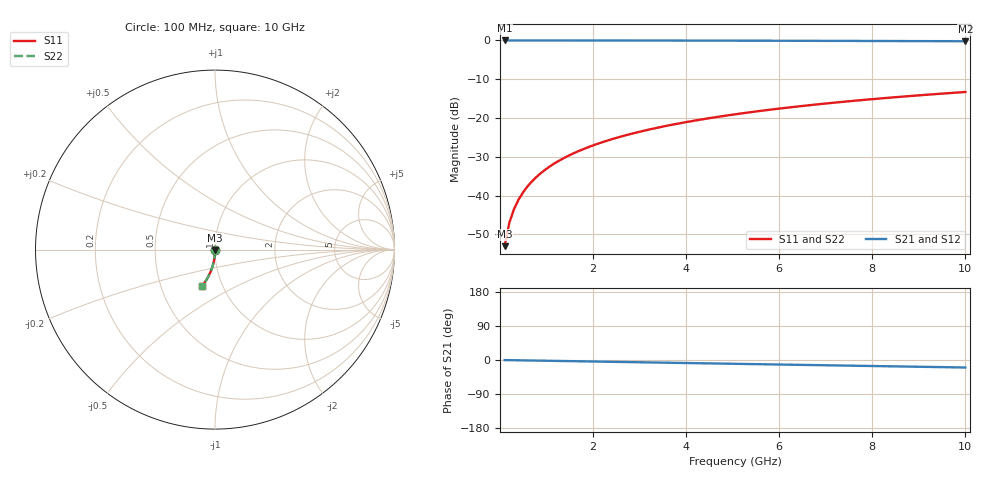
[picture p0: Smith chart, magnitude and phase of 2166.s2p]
# Hz S RI R 50.00
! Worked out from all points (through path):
!   100 points, 100 MHz to 10 GHz, reference 50 ohm
!   highest |S21| = 0.00 dB at 100 MHz (marker M1); lowest = -0.2 dB at 10 GHz (marker M2)
!   group delay of S21, straight-line fit = 5.5 ps
!   lowest |S11| = -53.1 dB at 100 MHz (marker M3), VSWR 1.00, Z = 50 - j0.222 ohm
!   |S11| at or under -10 dB: start of sweep to end of sweep
!   |S22| runs from -53.1 to -13.3 dB; largest |S21 - S12| = 0
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1e8  0.000193 -0.00222  0.9998 -0.00346  0.9998 -0.00346  0.000193 -0.00222
2e8  0.000168 -0.00443  0.9998 -0.00693  0.9998 -0.00693  0.000168 -0.00443
3e8  0.000128 -0.00665  0.9997 -0.0104  0.9997 -0.0104  0.000128 -0.00665
4e8  7.25e-05 -0.00886  0.9996 -0.0139  0.9996 -0.0139  7.25e-05 -0.00886
5e8  1.38e-06 -0.0111  0.9996 -0.0173  0.9996 -0.0173  1.38e-06 -0.0111
6e8  -8.51e-05 -0.0133  0.9995 -0.0208  0.9995 -0.0208  -8.51e-05 -0.0133
7e8  -0.000187 -0.0155  0.9994 -0.0242  0.9994 -0.0242  -0.000187 -0.0155
8e8  -0.000304 -0.0177  0.9992 -0.0277  0.9992 -0.0277  -0.000304 -0.0177
9e8  -0.000437 -0.0199  0.9991 -0.0312  0.9991 -0.0312  -0.000437 -0.0199
1.1e9  -0.000749 -0.0244  0.9987 -0.0381  0.9987 -0.0381  -0.000749 -0.0244
1.4e9  -0.00133 -0.031  0.9981 -0.0485  0.9981 -0.0485  -0.00133 -0.031
1.8e9  -0.00232 -0.0398  0.997 -0.0623  0.997 -0.0623  -0.00232 -0.0398
2.1e9  -0.00323 -0.0464  0.996 -0.0726  0.996 -0.0726  -0.00323 -0.0464
2.5e9  -0.00465 -0.0552  0.9944 -0.0864  0.9944 -0.0864  -0.00465 -0.0552
2.9e9  -0.00631 -0.0639  0.9926 -0.1002  0.9926 -0.1002  -0.00631 -0.0639
3.4e9  -0.00873 -0.0747  0.9899 -0.1173  0.9899 -0.1173  -0.00873 -0.0747
4.2e9  -0.0134 -0.0919  0.9848 -0.1445  0.9848 -0.1445  -0.0134 -0.0919
5.1e9  -0.0197 -0.1108  0.9778 -0.1748  0.9778 -0.1748  -0.0197 -0.1108
5.9e9  -0.0263 -0.1273  0.9704 -0.2014  0.9704 -0.2014  -0.0263 -0.1273
6.7e9  -0.0338 -0.1433  0.9621 -0.2276  0.9621 -0.2276  -0.0338 -0.1433
8.4e9  -0.0526 -0.1757  0.9413 -0.2817  0.9413 -0.2817  -0.0526 -0.1757
1e10  -0.0733 -0.2037  0.9182 -0.3303  0.9182 -0.3303  -0.0733 -0.2037
